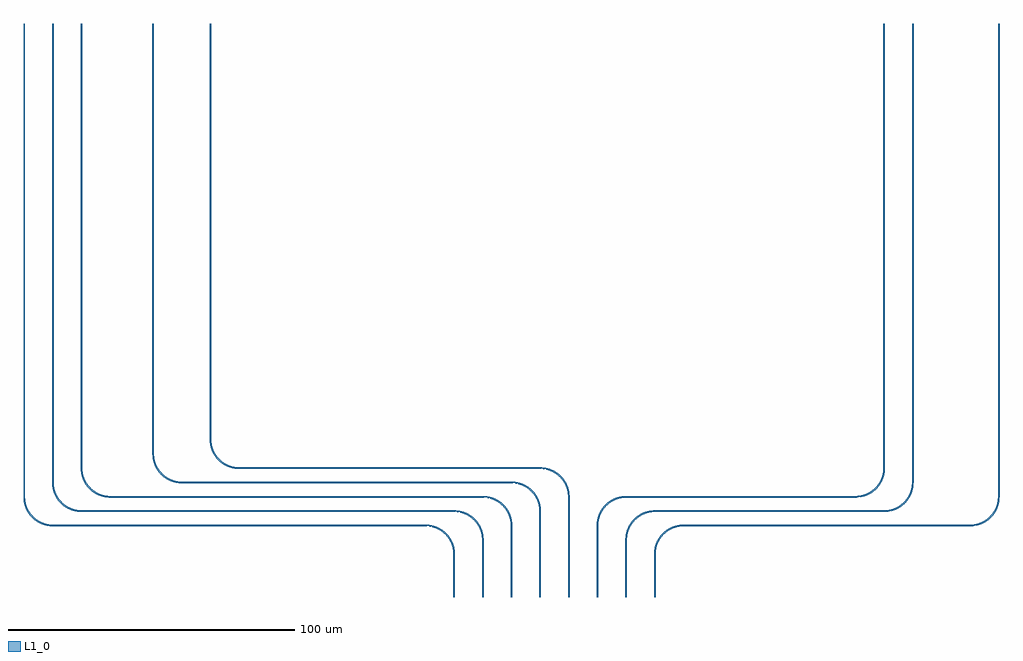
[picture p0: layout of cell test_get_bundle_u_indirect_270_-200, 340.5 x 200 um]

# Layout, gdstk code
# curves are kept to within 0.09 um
from math import pi, radians
import gdstk
lib = gdstk.Library(unit=1e-6, precision=1e-09)
def R(c, l, rs):  # rectangles x0, y0, x1, y1
    for r in rs: c.add(gdstk.rectangle(r[:2], r[2:], *l))
def P(c, l, *ps):  # polygons
    for p in ps: c.add(gdstk.Polygon(p, *l))
L1_0 = (1, 0)

bend_circular_cross_sec_ = lib.new_cell('bend_circular_cross_sec_81c7ebae')
P(bend_circular_cross_sec_, L1_0, [(0,-0.25),(1.967,-0.06),(3.013,0.203),(3.943,0.539),(5.685,1.471),(7.216,2.72),(8.479,4.24),(9.037,5.163),(9.461,6.057),(9.797,6.987),(10.06,8.033),(10.25,10),(9.75,10),(9.687,8.89),(9.516,7.878),(9.185,6.728),(8.79,5.781),(7.968,4.38),(6.924,3.136),(5.62,2.032),(4.219,1.21),(3.272,0.815),(2.122,0.484),(1.11,0.313),(0,0.25)])

straight_cross_sectionc_ = lib.new_cell('straight_cross_sectionc_8cfbbffd')
R(straight_cross_sectionc_, L1_0, [(0,-0.25,165,0.25)])

c_straight_cross_sectionc_ = lib.new_cell('straight_cross_sectionc_cdd31ae6')
R(c_straight_cross_sectionc_, L1_0, [(0,-0.25,130,0.25)])

c_straight_cross_sectionc__ = lib.new_cell('straight_cross_sectionc_ccc8b978')
R(c_straight_cross_sectionc__, L1_0, [(0,-0.25,15,0.25)])

c_straight_cross_sectionc___ = lib.new_cell('straight_cross_sectionc_7df781dc')
R(c_straight_cross_sectionc___, L1_0, [(0,-0.25,160,0.25)])

c_straight_cross_sectionc____ = lib.new_cell('straight_cross_sectionc_7da930e0')
R(c_straight_cross_sectionc____, L1_0, [(0,-0.25,20,0.25)])

c_straight_cross_sectionc_____ = lib.new_cell('straight_cross_sectionc_5d7d4909')
R(c_straight_cross_sectionc_____, L1_0, [(0,-0.25,155,0.25)])

c_straight_cross_sectionc______ = lib.new_cell('straight_cross_sectionc_07ffc600')
R(c_straight_cross_sectionc______, L1_0, [(0,-0.25,25,0.25)])

c_straight_cross_sectionc_______ = lib.new_cell('straight_cross_sectionc_96de08e3')
R(c_straight_cross_sectionc_______, L1_0, [(0,-0.25,150,0.25)])

c_straight_cross_sectionc________ = lib.new_cell('straight_cross_sectionc_4b7cc5cb')
R(c_straight_cross_sectionc________, L1_0, [(0,-0.25,115,0.25)])

c_straight_cross_sectionc_________ = lib.new_cell('straight_cross_sectionc_134885ba')
R(c_straight_cross_sectionc_________, L1_0, [(0,-0.25,30,0.25)])

c_straight_cross_sectionc__________ = lib.new_cell('straight_cross_sectionc_cdcc2d69')
R(c_straight_cross_sectionc__________, L1_0, [(0,-0.25,145,0.25)])

c_straight_cross_sectionc___________ = lib.new_cell('straight_cross_sectionc_6b5082da')
R(c_straight_cross_sectionc___________, L1_0, [(0,-0.25,105,0.25)])

c_straight_cross_sectionc____________ = lib.new_cell('straight_cross_sectionc_91b317bd')
R(c_straight_cross_sectionc____________, L1_0, [(0,-0.25,35,0.25)])

c_straight_cross_sectionc_____________ = lib.new_cell('straight_cross_sectionc_bb7832c5')
R(c_straight_cross_sectionc_____________, L1_0, [(0,-0.25,80,0.25)])

c_straight_cross_sectionc______________ = lib.new_cell('straight_cross_sectionc_438666f5')
R(c_straight_cross_sectionc______________, L1_0, [(0,-0.25,100,0.25)])

test_get_bundle_u_indire = lib.new_cell('test_get_bundle_u_indirect_270_-200')
test_get_bundle_u_indire.add(gdstk.Reference(bend_circular_cross_sec_, (-100,-165), rotation=3*pi/2))
test_get_bundle_u_indire.add(gdstk.Reference(bend_circular_cross_sec_, (40,-175), x_reflection=True))
test_get_bundle_u_indire.add(gdstk.Reference(straight_cross_sectionc_, (-100,0), rotation=3*pi/2))
test_get_bundle_u_indire.add(gdstk.Reference(c_straight_cross_sectionc_, (-90,-175)))
test_get_bundle_u_indire.add(gdstk.Reference(c_straight_cross_sectionc__, (50,-185), rotation=3*pi/2))
test_get_bundle_u_indire.add(gdstk.Reference(bend_circular_cross_sec_, (-90,-160), rotation=3*pi/2))
test_get_bundle_u_indire.add(gdstk.Reference(bend_circular_cross_sec_, (50,-170), x_reflection=True))
test_get_bundle_u_indire.add(gdstk.Reference(c_straight_cross_sectionc___, (-90,0), rotation=3*pi/2))
test_get_bundle_u_indire.add(gdstk.Reference(c_straight_cross_sectionc_, (-80,-170)))
test_get_bundle_u_indire.add(gdstk.Reference(c_straight_cross_sectionc____, (60,-180), rotation=3*pi/2))
test_get_bundle_u_indire.add(gdstk.Reference(bend_circular_cross_sec_, (-80,-155), rotation=3*pi/2))
test_get_bundle_u_indire.add(gdstk.Reference(bend_circular_cross_sec_, (60,-165), x_reflection=True))
test_get_bundle_u_indire.add(gdstk.Reference(c_straight_cross_sectionc_____, (-80,0), rotation=3*pi/2))
test_get_bundle_u_indire.add(gdstk.Reference(c_straight_cross_sectionc_, (-70,-165)))
test_get_bundle_u_indire.add(gdstk.Reference(c_straight_cross_sectionc______, (70,-175), rotation=3*pi/2))
test_get_bundle_u_indire.add(gdstk.Reference(bend_circular_cross_sec_, (-55,-150), rotation=3*pi/2))
test_get_bundle_u_indire.add(gdstk.Reference(bend_circular_cross_sec_, (70,-160), x_reflection=True))
test_get_bundle_u_indire.add(gdstk.Reference(c_straight_cross_sectionc_______, (-55,0), rotation=3*pi/2))
test_get_bundle_u_indire.add(gdstk.Reference(c_straight_cross_sectionc________, (-45,-160)))
test_get_bundle_u_indire.add(gdstk.Reference(c_straight_cross_sectionc_________, (80,-170), rotation=3*pi/2))
test_get_bundle_u_indire.add(gdstk.Reference(bend_circular_cross_sec_, (-35,-145), rotation=3*pi/2))
test_get_bundle_u_indire.add(gdstk.Reference(bend_circular_cross_sec_, (80,-155), x_reflection=True))
test_get_bundle_u_indire.add(gdstk.Reference(c_straight_cross_sectionc__________, (-35,0), rotation=3*pi/2))
test_get_bundle_u_indire.add(gdstk.Reference(c_straight_cross_sectionc___________, (-25,-155)))
test_get_bundle_u_indire.add(gdstk.Reference(c_straight_cross_sectionc____________, (90,-165), rotation=3*pi/2))
test_get_bundle_u_indire.add(gdstk.Reference(bend_circular_cross_sec_, (200,-155), rotation=3*pi/2, x_reflection=True))
test_get_bundle_u_indire.add(gdstk.Reference(bend_circular_cross_sec_, (110,-165), rotation=pi))
test_get_bundle_u_indire.add(gdstk.Reference(c_straight_cross_sectionc_____, (200,0), rotation=3*pi/2))
test_get_bundle_u_indire.add(gdstk.Reference(c_straight_cross_sectionc_____________, (190,-165), rotation=pi))
test_get_bundle_u_indire.add(gdstk.Reference(c_straight_cross_sectionc______, (100,-175), rotation=3*pi/2))
test_get_bundle_u_indire.add(gdstk.Reference(bend_circular_cross_sec_, (210,-160), rotation=3*pi/2, x_reflection=True))
test_get_bundle_u_indire.add(gdstk.Reference(bend_circular_cross_sec_, (120,-170), rotation=pi))
test_get_bundle_u_indire.add(gdstk.Reference(c_straight_cross_sectionc___, (210,0), rotation=3*pi/2))
test_get_bundle_u_indire.add(gdstk.Reference(c_straight_cross_sectionc_____________, (200,-170), rotation=pi))
test_get_bundle_u_indire.add(gdstk.Reference(c_straight_cross_sectionc____, (110,-180), rotation=3*pi/2))
test_get_bundle_u_indire.add(gdstk.Reference(bend_circular_cross_sec_, (240,-165), rotation=3*pi/2, x_reflection=True))
test_get_bundle_u_indire.add(gdstk.Reference(bend_circular_cross_sec_, (130,-175), rotation=pi))
test_get_bundle_u_indire.add(gdstk.Reference(straight_cross_sectionc_, (240,0), rotation=3*pi/2))
test_get_bundle_u_indire.add(gdstk.Reference(c_straight_cross_sectionc______________, (230,-175), rotation=pi))
test_get_bundle_u_indire.add(gdstk.Reference(c_straight_cross_sectionc__, (120,-185), rotation=3*pi/2))

lib.write_gds('test_get_bundle_u_indirect_270_-200.gds')
